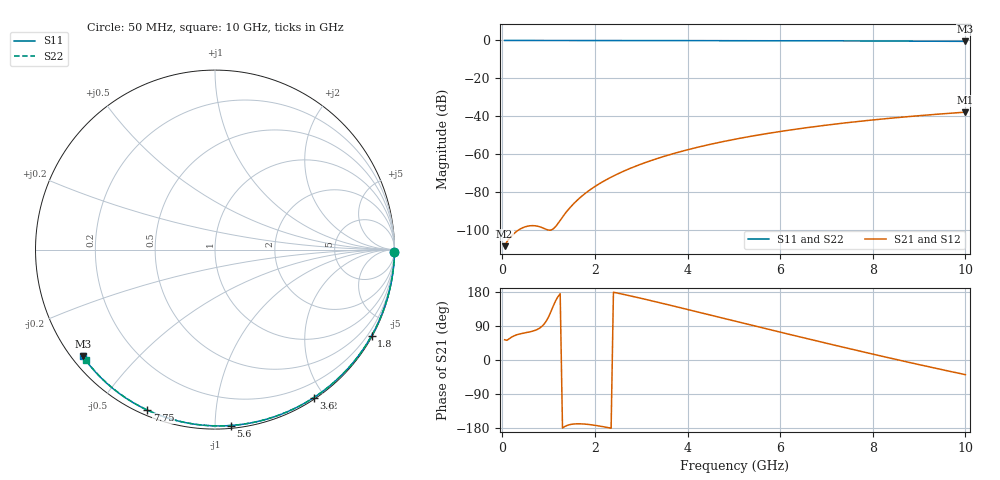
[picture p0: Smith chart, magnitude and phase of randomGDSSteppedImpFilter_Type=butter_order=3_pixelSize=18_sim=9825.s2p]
! freq	dB(S11)	phase(S11)	dB(S12)	phase(S12)
!  dB(S21)	phase(S21)	dB(S22)	phase(S22)
!S-par simulation data
#  GHz  S  DB  R 50
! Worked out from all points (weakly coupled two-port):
!   200 points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, 50 MHz to 10 GHz, reference 50 ohm
!   highest |S21| = -37.82 dB at 10 GHz (marker M1); lowest = -108.5 dB at 50 MHz (marker M2)
!   lowest |S11| = -0.5 dB at 10 GHz (marker M3), VSWR 36.50, Z = 1.54 - j17.7 ohm
!   |S11| at or under -10 dB: nowhere
!   |S22| runs from -0.5 to 0.0 dB; largest |S21 - S12| = 0
!   S11 on the Smith chart (normalised r, x): 50 MHz: open; 1.8 GHz: 0.03, -3.88; 3.6 GHz: 0.02, -1.87; 5.6 GHz: 0.02, -1.10; 7.75 GHz: 0.02, -0.66; 10 GHz: 0.03, -0.35
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0.05  -0.00 -0.8  -108.53 53.4  -108.53 53.4  -0.00 -0.8
0.45  -0.01 -7.3  -98.72 70.7  -98.72 70.7  -0.01 -7.2
0.9  -0.02 -14.6  -99.17 94.3  -99.17 94.3  -0.02 -14.4
1.75  -0.04 -28.1  -81.48 -168.8  -81.48 -168.8  -0.04 -27.8
1.8  -0.04 -28.9  -80.51 -169.3  -80.51 -169.3  -0.04 -28.6
1.85  -0.04 -29.7  -79.59 -169.9  -79.59 -169.9  -0.04 -29.3
2.05  -0.04 -32.8  -76.27 -173.3  -76.27 -173.3  -0.04 -32.4
2.25  -0.05 -35.9  -73.41 -177.6  -73.41 -177.6  -0.05 -35.5
2.55  -0.05 -40.5  -69.74 175.0  -69.74 175.0  -0.05 -40.1
2.95  -0.06 -46.6  -65.67 164.1  -65.67 164.1  -0.06 -46.1
3.4  -0.07 -53.4  -61.86 151.1  -61.86 151.1  -0.07 -52.8
3.6  -0.08 -56.4  -60.37 145.3  -60.37 145.3  -0.08 -55.8
4.3  -0.09 -66.6  -55.87 124.4  -55.87 124.4  -0.09 -65.9
5.05  -0.12 -77.2  -51.99 101.9  -51.99 101.9  -0.12 -76.4
5.6  -0.14 -84.8  -49.59 85.4  -49.59 85.4  -0.14 -83.9
6.15  -0.16 -92.2  -47.48 69.1  -47.48 69.1  -0.16 -91.2
6.7  -0.19 -99.5  -45.61 52.9  -45.61 52.9  -0.19 -98.4
7.2  -0.22 -105.9  -44.08 38.4  -44.08 38.4  -0.22 -104.8
7.75  -0.26 -112.9  -42.57 22.6  -42.57 22.6  -0.26 -111.7
8.35  -0.31 -120.5  -41.10 5.7  -41.10 5.7  -0.30 -119.1
9.2  -0.39 -131.1  -39.29 -17.6  -39.29 -17.6  -0.38 -129.5
10  -0.48 -141.0  -37.82 -38.7  -37.82 -38.7  -0.47 -139.3
